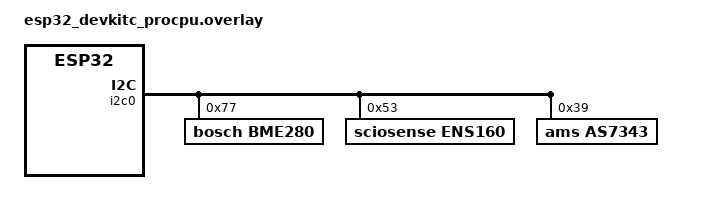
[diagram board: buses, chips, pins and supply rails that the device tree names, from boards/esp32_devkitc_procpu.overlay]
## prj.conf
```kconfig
#################
# Enable Bluetooth
#################
# CONFIG_SMP=y

CONFIG_BT=y
CONFIG_BT_PERIPHERAL=y
CONFIG_BT_HCI=y
CONFIG_BT_DEVICE_NAME="SensorNode"
CONFIG_BT_BUF_ACL_RX_SIZE=200
CONFIG_BT_BUF_ACL_TX_SIZE=200
CONFIG_BT_L2CAP_TX_MTU=71

CONFIG_SYSTEM_WORKQUEUE_STACK_SIZE=2048
CONFIG_SENSOR_INIT_PRIORITY=95

# Enable Peripheral
#enabled GPIO for button
CONFIG_GPIO=y
# CONFIG_WATCHDOG=n
# enable prints for serial
CONFIG_PRINTK=y
# enable floating point suppport
CONFIG_CBPRINTF_FP_SUPPORT=y
CONFIG_I2C=y

CONFIG_SENSOR=y
CONFIG_SENSOR_ASYNC_API=y

# Enable Zephyr logging
CONFIG_LOG=y
# Set the default log level
CONFIG_LOG_DEFAULT_LEVEL=3


# Enable Zephyr shell
CONFIG_SHELL=y
# Backend the logs to be output via the shell
CONFIG_SHELL_LOG_BACKEND=y
# Add runtime log commands
CONFIG_LOG_CMDS=y

#for JSON libraries
CONFIG_JSON_LIBRARY=y

# fs_dirent structures are big.
CONFIG_MAIN_STACK_SIZE=4096

# CONFIG_FLASH=y 
# CONFIG_FLASH_MAP=y

# CONFIG_FILE_SYSTEM=y
# CONFIG_FILE_SYSTEM_LITTLEFS=y
```

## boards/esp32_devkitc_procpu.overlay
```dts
&i2c0 {

    bme280@76 {
        compatible = "bosch,bme280";
        reg = <0x77>;
        label = "BME280";
    };

    ens160@53 {
        compatible = "sciosense,ens160";
        reg = <0x53>;  /* or 0x52 depending on ADDR pin */
        label = "ENS160";
    };

    as7343@39 {
        compatible = "ams,as7343";
        reg = <0x39>;
        status = "okay";
        label = "AS7343";
    };
};
```

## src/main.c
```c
#include <zephyr/kernel.h>
#include <zephyr/device.h>
#include <zephyr/drivers/rtc.h>
#include <zephyr/sys/util.h>
#include <zephyr/shell/shell.h>
// #include "s4744413_rtc.h"
#include <zephyr/drivers/sensor.h>
#include <zephyr/drivers/sensor/ens160.h>
#include "sensor.h"
#include "as7343.h"

// MAIN.C bluetooth test

#include <zephyr/types.h>
#include <zephyr/sys/printk.h>
#include <zephyr/logging/log.h>
#include <zephyr/net_buf.h>
#include <zephyr/bluetooth/bluetooth.h>
#include <zephyr/bluetooth/conn.h>
#include <zephyr/bluetooth/gatt.h>
#include <zephyr/bluetooth/hci.h>


#include <string.h>
#include "bluetooth.h"

// #include "s4744413_file.h"

//TESTING TASK1
// K_THREAD_DEFINE(control_id, STACK_SIZE_RTC, control_thread, NULL, NULL, NULL, RTC_PRIORITY, 0, 0);

//TESTING TASK2
// K_THREAD_DEFINE(sensor_control_id, STACK_SIZE_SENSOR, sensor_control_thread, NULL, NULL, NULL, SENSOR_PRIORITY, 0, 0);
// K_THREAD_DEFINE(hts221_tid, STACK_SIZE_SENSOR, hts221_thread, NULL, NULL, NULL, HTS221_THREAD_PRIORITY , 0, 0);
// K_THREAD_DEFINE(lps22hb_tid, STACK_SIZE_SENSOR, lps22hb_thread, NULL, NULL, NULL, LPS22HB_THREAD_PRIORITY, 0, 0);
// K_THREAD_DEFINE(lis3mdl_tid, STACK_SIZE_SENSOR, lis3mdl_thread, NULL, NULL, NULL, LIST3MDL_THREAD_PRIORITY, 0, 0);


                /* Start immediately -> 0 (ms) */
K_THREAD_DEFINE(tracker_tid, TRACKER_CONTROL_STACK_SIZE, tracker_thread,
                NULL, NULL, NULL,
                TRACKER_CONTROL_PRIORITY, 0, 0);

/* Create paused -> SYS_FOREVER_MS */
K_THREAD_DEFINE(bme280_tid,  STACK_SIZE_SENSOR, bme280_thread,
                NULL, NULL, NULL,
                BME280_THREAD_PRIORITY, 0, 0);

K_THREAD_DEFINE(ens160_tid,  STACK_SIZE_SENSOR, ens160_thread,
                NULL, NULL, NULL,
                BME280_THREAD_PRIORITY, 0, 0);

K_THREAD_DEFINE(as7343_tid,  STACK_SIZE_SENSOR, as7343_thread,
                NULL, NULL, NULL,
                BME280_THREAD_PRIORITY, 0, 0);

K_THREAD_DEFINE(combiner_tid, STACK_SIZE_SENSOR, combiner_thread,
                NULL, NULL, NULL,
                BME280_THREAD_PRIORITY, 0, 0);


// //TESTING TASK 5
// K_THREAD_DEFINE(file_control_id, FILE_STACK_SIZE, file_control_thread, NULL, NULL, NULL, FILE_PRIORITY, 0, 0);
```

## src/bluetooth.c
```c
#include <zephyr/kernel.h>
#include <zephyr/types.h>
#include <zephyr/sys/printk.h>
#include <zephyr/logging/log.h>
#include <zephyr/net_buf.h>
#include <zephyr/bluetooth/bluetooth.h>
#include <zephyr/bluetooth/conn.h>
#include <zephyr/bluetooth/gatt.h>
#include <zephyr/bluetooth/hci.h>
#include <zephyr/sys/timeutil.h>

#include <string.h>

#include "bluetooth.h"
#include "sensor.h"

#include "i2c_gate.h"

#ifndef CONFIG_BT_DEVICE_NAME
#define CONFIG_BT_DEVICE_NAME "SensorNode"
#endif

#define DEV_ID 2
#define PACKED_DATA_LEN 51

#define PROTO_VER 1

/* GLOBAL VARIABLES*/
uint8_t packed_data[PACKED_DATA_LEN];
static struct bt_conn *current_conn;
static bool notify_enabled = false;  // NEW
uint8_t ble_tick = 0;
uint8_t dev_id = DEV_ID;

// Custom 128-bit service UUID for advertising (little endian)
static const uint8_t custom_service_uuid[16] = {
    0x12, 0x34, 0x56, 0x78,
    0x12, 0x34, 0x56, 0x78,
    0x12, 0x34, 0x56, 0x78,
    0x9a, 0xbc, 0xde, 0xf0,
};

// Advertising data: Flags for general discovery and custome 128-bit service UUID to display (for base to see then establish gatt connection)
static const struct bt_data ad[] = {
    BT_DATA_BYTES(BT_DATA_FLAGS, (BT_LE_AD_GENERAL | BT_LE_AD_NO_BREDR)),
    BT_DATA(BT_DATA_UUID128_ALL, custom_service_uuid, sizeof(custom_service_uuid)),
};

// Scan response data: Complete device name from configuration (only using for testing on nrf app)
static const struct bt_data sd[] = {
    BT_DATA(BT_DATA_NAME_COMPLETE, CONFIG_BT_DEVICE_NAME, strlen(CONFIG_BT_DEVICE_NAME)),
};

/* FUNCTION PROTOTYPES*/
extern uint8_t get_ble_tick(void);
extern void set_ble_tick(uint8_t value);

static ssize_t pack_data(struct bt_conn *conn, const struct bt_gatt_attr *attr,
                         void *buf, uint16_t len, uint16_t offset);
static ssize_t write_handler(struct bt_conn *conn,
                             const struct bt_gatt_attr *attr,
                             const void *buf, uint16_t len,
                             uint16_t offset, uint8_t flags);
static void ccc_cfg_changed(const struct bt_gatt_attr *attr, uint16_t value);
static void connected(struct bt_conn *conn, uint8_t err);
static void disconnected(struct bt_conn *conn, uint8_t reason);
static void print_packed_data();
extern void pack_sensor_data(const struct sensor_blk *sensor);
extern int init_bluetooth(void);
extern int start_advertising(void);
extern int stop_advertising(void);
extern int stop_advertising_and_disconnect();
void tracker_thread(void);

// Advertising parameters
// struct bt_le_adv_param adv_params = {
//     .id = BT_ID_DEFAULT,
//     .interval_min = BT_GAP_ADV_FAST_INT_MIN_2,
//     .interval_max = BT_GAP_ADV_FAST_INT_MAX_2,
//     .options = BT_LE_ADV_OPT_CONNECTABLE, // Connectable mode (this is depreciatetd though only thing i found to work)
// };

struct bt_le_adv_param adv_params = {
    .id = BT_ID_DEFAULT,
    .interval_min = BT_GAP_ADV_FAST_INT_MIN_2,
    .interval_max = BT_GAP_ADV_FAST_INT_MAX_2,
    .options = BT_LE_ADV_OPT_CONN, // Connectable mode (this is depreciatetd though only thing i found to work)
};

//Bluetooth connection callbacks structure:
static struct bt_conn_cb conn_callbacks = {
    .connected = connected,
    .disconnected = disconnected,
};

/*
GATT (Generic Attribute Profile) is a protocol used in Bluetooth Low Energy (BLE) 
defining how data is structured, discovered, and exchanged between devices. 
Data is organised into services and characteristics.

- Services are collections of data and associated behaviors (like a sensor service).
- Characteristics are individual data points or features within a service (like a temperature value).

Each attribute (service, characteristic, descriptor, etc.) in GATT has a unique handle,
A 16-bit identifier used by the BLE stack to read, write, or discover that attribute. 
Handles allow clients to specifically refer and operate on specific data points.
*/
BT_GATT_SERVICE_DEFINE(custom_svc, //custom service
    BT_GATT_PRIMARY_SERVICE(BT_UUID_DECLARE_128( //primary service with 128-bit custom UUID
        0x12, 0x34, 0x56, 0x78,
        0x12, 0x34,
        0x56, 0x78,
        0x12, 0x34,
        0x56, 0x78, 0x9a, 0xbc, 0xde, 0xf0)),
    BT_GATT_CHARACTERISTIC(BT_UUID_DECLARE_128( //characteristic defined within the service
        0x99, 0x88, 0x77, 0x66,
        0x55, 0x44,
        0x33, 0x22,
        0x11, 0x00,
        0xff, 0xee, 0xdd, 0xcc, 0xbb, 0xaa),
        BT_GATT_CHRC_READ | BT_GATT_CHRC_WRITE | BT_GATT_CHRC_NOTIFY, // read, write and notifying characteristic permissions
        BT_GATT_PERM_READ | BT_GATT_PERM_WRITE, // read and write attribute permissions
        pack_data, //read callback
        write_handler, //write callback
        NULL),
    // Client Characteristic Configuration Descriptor (CCCD)
    // Allows the client to enable or disable notifications
    BT_GATT_CCC(ccc_cfg_changed,
                BT_GATT_PERM_READ | BT_GATT_PERM_WRITE),
);

//Helper functions

/**
 * @brief Get the current value of the BLE tick counter.
 *
 * @return The current value of the ble_tick variable.
 */
extern uint8_t get_ble_tick(void) {
    return ble_tick;
}

/**
 * @brief Set the BLE tick counter to a specified value.
 *
 * @param value The new value to assign to the ble_tick variable.
 */
extern void set_ble_tick(uint8_t value) {
    ble_tick = value;
}

/**
 * @brief Read callback for the custom characteristic to return packed sensor data.
 *
 * This function called when a connected BLE client reads the value of the
 * custom characteristic. It returns the current contents of the `packed_data` buffer,
 * which containing the tracker sensor data
 *
 * @param conn   Pointer to the connection object.
 * @param attr   Pointer to the GATT attribute being read.
 * @param buf    Buffer to store the read data.
 * @param len    Maximum number of bytes the buffer can hold.
 * @param offset Offset from the beginning of the attribute value.
 *
 * @return Number of bytes read and copied to the buffer, or a negative error code.
 */
static ssize_t pack_data(struct bt_conn *conn, const struct bt_gatt_attr *attr,
                         void *buf, uint16_t len, uint16_t offset) {
    printk("[TRACKER] packing data\n");
    return bt_gatt_attr_read(conn, attr, buf, len, offset, packed_data, PACKED_DATA_LEN);
}

/**
 * @brief Write callback for the custom characteristic to update the device ID.
 *
 * This function is called when a connected BLE client writes to the custom
 * characteristic. It extracts the first byte from the incoming buffer and
 * stores it in the global dev_id variable, representing the device ID.
 *
 * @param conn   Pointer to the connection object.
 * @param attr   Pointer to the GATT attribute being written.
 * @param buf    Pointer to the data buffer provided by the client.
 * @param len    Length of the data being written.
 * @param offset Offset into the attribute value 
 * @param flags  Flags indicating write behavior 
 */
static ssize_t write_handler(struct bt_conn *conn,
                             const struct bt_gatt_attr *attr,
                             const void *buf, uint16_t len,
                             uint16_t offset, uint8_t flags) {
    //update device ID
    dev_id = ((uint8_t *)buf)[0];
    // printk("dev_id set to: %d\n", dev_id);

    // Return number of bytes written
    return len;
}


/**
 * @brief Callback triggered when the CCC (Client Characteristic Configuration) is changed.
 *
 * This function is invoked when a BLE client writes to the CCC descriptor of a
 * characteristic to enable or disable notifications. It updates the global
 * notify_enabled flag to indicate.
 *
 * @param attr  Pointer to the CCC GATT attribute.
 * @param value New CCC value set by the client (BT_GATT_CCC_NOTIFY to enable notifications).
 */
static void ccc_cfg_changed(const struct bt_gatt_attr *attr, uint16_t value) {

    if (value == BT_GATT_CCC_NOTIFY) {
        notify_enabled = true;
        printk("Notifications enabled\n");
    } else {
        printk("Notifications disabled\n");
        notify_enabled = false;
    }
}

/**
 * @brief Bluetooth connection callback when a connection is successfully established.
 *
 * It checks for connection errors, stores a reference to the current connection,
 * prints a status message, and sets the BLE tick flag indicating a BT connection.
 *
 * @param conn Pointer to the new connection object.
 * @param err  Error code (0 if successful, non-zero on failure).
 */
static void connected(struct bt_conn *conn, uint8_t err) {
    if (err) {
        printk("[TRACKER] Failed to connect (err %u)\n", err);
        return;
    }

    current_conn = bt_conn_ref(conn);
    printk("[TRACKER] Connected\n");
    ble_tick = 1;
}

/**
 * @brief Bluetooth disconnection callback triggered when the device disconnects.
 *
 * This function is called when the BLE connection is disconnected, prints the
 * disconnection reason, unreferencing, clearing the current connection, and resetting
 * the BLE tick flag.
 *
 * @param conn   Pointer to the disconnected connection object.
 * @param reason Reason code for the disconnection.
 */
static void disconnected(struct bt_conn *conn, uint8_t reason) {
    printk("[TRACKER] Disconnected (reason 0x%02x)\n", reason);
    if (current_conn) {
        bt_conn_unref(current_conn);
        current_conn = NULL;
    }
    ble_tick = 0;
}

/**
 * @brief Unpack and print the contents of the compact sensor packet (no hash).
 * Layout (bytes, big-endian where multi-byte):
 *  0..3:   time (uint32_t, epoch s)
 *  4..7:   uptime_ms (uint32_t)
 *  8:      proto_ver (uint8_t)
 *  9:      dev_id    (uint8_t)
 * 10..11:  temp_c_x100 (int16_t)
 * 12..13:  rh_x100     (int16_t)
 * 14..15:  press_hPa_x10 (int16_t)
 * 16..17:  eco2_ppm (uint16_t)
 * 18..19:  tvoc_ppb (uint16_t)
 * 20:      aqi (uint8_t)
 * 21..46:  AS7343[13] (uint16_t each) order: 405,425,450,475,515,550,555,600,640,690,745,855, VISIBLE
 * 47..48:  batt_mV (uint16_t)
 */
static void print_packed_data(void)
{
    size_t i = 0;

    // Timestamps / meta
    uint32_t timestamp =
        ((uint32_t)packed_data[i] << 24) |
        ((uint32_t)packed_data[i+1] << 16) |
        ((uint32_t)packed_data[i+2] << 8) |
         (uint32_t)packed_data[i+3];
    i += 4;

    uint32_t uptime_ms =
        ((uint32_t)packed_data[i] << 24) |
        ((uint32_t)packed_data[i+1] << 16) |
        ((uint32_t)packed_data[i+2] << 8) |
         (uint32_t)packed_data[i+3];
    i += 4;

    uint8_t proto_ver = packed_data[i++];
    uint8_t dev_id    = packed_data[i++];

    // BME280
    int16_t temp_x100 = (int16_t)((packed_data[i] << 8) | packed_data[i+1]); i += 2;
    int16_t rh_x100   = (int16_t)((packed_data[i] << 8) | packed_data[i+1]); i += 2;
    int32_t p_hPa_x1000 = (int32_t)((packed_data[i] << 24) | (packed_data[i] << 16) | (packed_data[i] << 8) | packed_data[i+1]); i += 4;

    // ENS160
    uint16_t eco2_ppm = (uint16_t)((packed_data[i] << 8) | packed_data[i+1]); i += 2;
    uint16_t tvoc_ppb = (uint16_t)((packed_data[i] << 8) | packed_data[i+1]); i += 2;
    uint8_t aqi       = packed_data[i++];
    

    // AS7343 channels
    static const uint16_t wl[13] = {
        405,425,450,475,515,550,555,600,640,690,745,855,999  // 999 = VISIBLE
    };
    uint16_t ch[13];
    for (int k = 0; k < 13; k++) {
        ch[k] = (uint16_t)((packed_data[i] << 8) | packed_data[i+1]);
        i += 2;
    }

    // Battery
    uint16_t batt_mV = (uint16_t)((packed_data[i] << 8) | packed_data[i+1]);
    // i += 2; // not used

    // ---- Print nicely ----
    printk("[TRACKER] Parsed Data:\n");
    printk("  Time: %u  Uptime: %u ms  Ver: %u  DevID: %u\n",
           timestamp, uptime_ms, proto_ver, dev_id);

    printk("  BME280: T=%.2f °C  RH=%.2f %%  P=%.1f hPa\n",
           temp_x100 / 100.0f, rh_x100 / 100.0f, p_hPa_x1000 / 1000.0f);

    printk("  ENS160: eCO2=%u ppm  TVOC=%u ppb  AQI=%u\n",
           eco2_ppm, tvoc_ppb, aqi);

    for (int k = 0; k < 13; k++) {
        if (wl[k] == 999) {
            printk("  AS7343_VISIBLE: %u\n", ch[k]);
        } else {
            printk("  AS7343_%unm: %u\n", wl[k], ch[k]);
        }
    }

    printk("  Batt: %u mV\n", batt_mV);
}


/**
 * @brief Initialize Bluetooth.
 *
 * Enables Bluetooth and registers connection callbacks.
 *
 * @return 0 on success, or a negative error code on failure.
 */
extern int init_bluetooth(void) {
    int err;
    printk("[TRACKER] Initializing Bluetooth...\n");
    err = bt_enable(NULL);
    if (err) {
        printk("[TRACKER] Bluetooth init failed (err %d)\n", err);
        return err;
    }
    printk("here1");
    bt_conn_cb_register(&conn_callbacks);

    return 0;
}

/**
 * @brief Start Bluetooth advertising.
 *
 * Begins advertising with predefined parameters and advertising data.
 * Waits briefly after starting to allow advertising packets to propagate.
 *
 * @return 0 on success, or a negative error code on failure.
 */
extern int start_advertising(void) {
    int err;
    printk("[TRACKER] Starting advertising...\n");
    err = bt_le_adv_start(&adv_params, ad, ARRAY_SIZE(ad), sd, ARRAY_SIZE(sd));
    if (err) {
        printk("[TRACKER] Advertising failed to start (err %d)\n", err);
        return err;
    }

    printk("[TRACKER] Advertising started\n");
    k_msleep(3000);  // Wait before restarting next advertisement cycle ?????
    return 0;
}

/**
 * @brief Stop Bluetooth advertising.
 *
 * Waits briefly to ensure packets clear, then stops advertising.
 *
 * @return 0 on success, or a negative error code on failure.
 */
extern int stop_advertising(void) {
    k_msleep(2000); // wait for packets to clear before stopping
    int err;
    printk("[TRACKER] Stopping advertising...\n");

    err = bt_le_adv_stop();
    if (err) {
        printk("[TRACKER] Failed to stop advertising (err %d)\n", err);
        return err;
    }

    printk("[TRACKER] Advertising stopped\n");
    return 0;
}

/**
 * @brief Stop advertising and disconnect any active connection.
 *
 * Stops advertising, then if a connection exists, disconnects it with
 * a remote user termination reason.
 *
 * @return 0 on success, or a negative error code on failure.
 */
extern int stop_advertising_and_disconnect() {
    int err;

    err = stop_advertising();
    if (err) {
        printk("[TRACKER] Failed to stop advertising\n");
        return err;
    }

    if (current_conn) {
        err = bt_conn_disconnect(current_conn, BT_HCI_ERR_REMOTE_USER_TERM_CONN);
        if (err) {
            printk("[TRACKER] Disconnection failed (err %d)\n", err);
            return err;
        } else {
            printk("[TRACKER] Disconnection initiated\n");
        }
    }

    return 0;
}

extern void pack_sensor_data(const struct sensor_blk *s)
{
    size_t o = 0;

    // time
    packed_data[o++] = (s->time >> 24) & 0xFF;
    packed_data[o++] = (s->time >> 16) & 0xFF;
    packed_data[o++] = (s->time >>  8) & 0xFF;
    packed_data[o++] =  s->time        & 0xFF;

    // uptime_ms
    packed_data[o++] = (s->uptime_ms >> 24) & 0xFF;
    packed_data[o++] = (s->uptime_ms >> 16) & 0xFF;
    packed_data[o++] = (s->uptime_ms >>  8) & 0xFF;
    packed_data[o++] =  s->uptime_ms        & 0xFF;

    // meta
    packed_data[o++] = s->proto_ver;
    packed_data[o++] = s->dev_id;

    // BME280
    packed_data[o++] = (s->temp_c_x100 >> 8) & 0xFF;
    packed_data[o++] =  s->temp_c_x100       & 0xFF;
    packed_data[o++] = (s->rh_x100 >> 8) & 0xFF;
    packed_data[o++] =  s->rh_x100       & 0xFF;
    
    packed_data[o++] = (s->press_hPa_x1000 >> 24) & 0xFF;
    packed_data[o++] = (s->press_hPa_x1000 >> 16) & 0xFF;
    packed_data[o++] = (s->press_hPa_x1000 >>  8) & 0xFF;
    packed_data[o++] =  s->press_hPa_x1000        & 0xFF;

    // ENS160
    packed_data[o++] = (s->eco2_ppm >> 8) & 0xFF;
    packed_data[o++] =  s->eco2_ppm       & 0xFF;
    packed_data[o++] = (s->tvoc_ppb >> 8) & 0xFF;
    packed_data[o++] =  s->tvoc_ppb       & 0xFF;
    packed_data[o++] =  s->aqi;

    // AS7343: 405,425,450,475,515,550,555,600,640,690,745,855,VISIBLE
    for (int i = 0; i < AS7343_NUM_CH; i++) {
        uint16_t v = s->as7343[i];
        packed_data[o++] = (v >> 8) & 0xFF;
        packed_data[o++] =  v       & 0xFF;
    }

    // Battery
    packed_data[o++] = (s->batt_mV >> 8) & 0xFF;
    packed_data[o++] =  s->batt_mV       & 0xFF;

    // Notify if enabled
    if (notify_enabled && current_conn) {
        int err = bt_gatt_notify(current_conn, &custom_svc.attrs[1],
                                 packed_data, PACKED_DATA_LEN);
        if (err) {
            printk("[TRACKER] notify failed (%d)\n", err);
        }
    }
}

void tracker_thread(void)
{   
    // k_sleep(K_SECONDS(5));
     /* Hard-stop all I2C before touching BT */
    // i2c_gate_acquire();

    /* init_bluetooth() should just call bt_enable(cb) and return 0 on success */
    int rc = init_bluetooth();
    if (rc) {
        // i2c_gate_release();
        return; /* or retry later */
    }

    while (1) {
        // i2c_gate_acquire();
        if (start_advertising()) break;

        for (int i = 0; i < 10; ++i) {  // ~30 seconds of data, for example
            struct sensor_blk s;
            /* Wait until a full sample is available */
            if (k_msgq_get(&full_q, &s, K_SECONDS(2)) == 0) {
                pack_sensor_data(&s);
                // Optional debug:
                print_packed_data();
            } else {
                /* No sample in 2s: continue (or log) */
            }
        }

        (void)stop_advertising_and_disconnect();
        k_sleep(K_SECONDS(5));
        // i2c_gate_release();
    }
}

// /**
//  * @brief Testing tracker thread sending dummy data (minimal schema, no hash)
//  */
// void tracker_thread(void)
// {
//     int err = init_bluetooth();
//     if (err) {
//         printk("[TRACKER] Bluetooth init failed\n");
//         return;
//     }
//     printk("here\n");
//     // Fixed wall-clock start time (same as before)
//     struct tm timeinfo = {
//         .tm_year = 2025 - 1900,  // years since 1900
//         .tm_mon  = 4,            // May (0-indexed)
//         .tm_mday = 25,
//         .tm_hour = 12,
//         .tm_min  = 38,
//         .tm_sec  = 0,
//     };
//     uint32_t unix_ts = (uint32_t)timeutil_timegm(&timeinfo);
//     printk("Unix timestamp: %u\n", unix_ts);

//     // --- Seed example sensor data (scale factors: T*100, RH*100, P*10) ---
//     struct sensor_blk s = {
//         .time          = unix_ts,
//         .uptime_ms     = k_uptime_get_32(),
//         .proto_ver     = PROTO_VER,
//         .dev_id        = DEV_ID,

//         // BME280
//         .temp_c_x100   = 2350,   // 23.50 °C
//         .rh_x100       = 4567,   // 45.67 %RH
//         .press_hPa_x10 = 10132,  // 1013.2 hPa

//         // ENS160
//         .eco2_ppm      = 415,    // ppm
//         .tvoc_ppb      = 28,     // ppb
//         .aqi           = 1,      // 0..5 (pass-through)

//         // AS7343 channels in this order:
//         // 405,425,450,475,515,550,555,600,640,690,745,855, VISIBLE
//         .as7343 = {
//             12, 14, 18, 20, 22, 24, 23, 19, 16, 13, 9, 6,  75 /*VISIBLE sum*/
//         },

//         .batt_mV       = 3820,   // 3.82 V battery
//     };

//     while (1) {
//         err = start_advertising();
//         if (err) {
//             printk("[TRACKER] Advertising start failed (%d)\n", err);
//             return;
//         }

//         // Send a few samples at ~1 Hz
//         for (int i = 0; i < 5; i++) {
//             // Refresh dynamic fields
//             s.time       = unix_ts + i;           // tick the epoch so `time` changes
//             s.uptime_ms  = k_uptime_get_32();

//             // Mildly vary readings to see motion in Grafana
//             s.temp_c_x100   += (i % 2 ? 1 : -1);  // ±0.01 °C
//             s.rh_x100       += (i % 2 ? 2 : -2);  // ±0.02 %RH
//             s.press_hPa_x10 += (i % 2 ? 1 : -1);  // ±0.1 hPa

//             s.eco2_ppm      = 410 + (i * 2);     // ppm
//             s.tvoc_ppb      = 25  + (i * 3);     // ppb
//             s.aqi           = 1;                  // keep stable

//             // Wiggle a couple of spectral channels + recompute "VISIBLE"
//             s.as7343[2] += (i % 2 ? 1 : -1);      // 450 nm
//             s.as7343[7] += (i % 2 ? 1 : -1);      // 600 nm
//             uint32_t vis = 0;
//             for (int k = 0; k < 12; k++) vis += s.as7343[k];
//             s.as7343[12] = (uint16_t)vis;         // AS7343_VISIBLE

//             // Trickle battery down a touch
//             if (s.batt_mV > 3600) s.batt_mV--;

//             // Ship it
//             pack_sensor_data(&s);

//             // Optional local debug
//             print_packed_data();

//             k_sleep(K_SECONDS(1));
//         }

//         k_sleep(K_SECONDS(5));
//         err = stop_advertising_and_disconnect();
//         if (err) {
//             printk("[TRACKER] Stop+disconnect failed (%d)\n", err);
//             return;
//         }

//         k_sleep(K_SECONDS(10));  // pause before next burst
//     }
// }

//MAIN.C bluetooth test
// #include <zephyr/kernel.h>
// #include <zephyr/types.h>
// #include <zephyr/sys/printk.h>
// #include <zephyr/logging/log.h>
// #include <zephyr/net_buf.h>
// #include <zephyr/bluetooth/bluetooth.h>
// #include <zephyr/bluetooth/conn.h>
// #include <zephyr/bluetooth/gatt.h>
// #include <zephyr/bluetooth/hci.h>

// #include <string.h>

// #include <bluetooth.h>

// K_THREAD_DEFINE(tracker_tid, TRACKER_CONTROL_STACK_SIZE, tracker_thread, NULL, NULL, NULL, TRACKER_CONTROL_PRIORITY, 0, 0);
```

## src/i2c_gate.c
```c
#include <zephyr/kernel.h>

K_MUTEX_DEFINE(i2c_mux);

void i2c_gate_acquire(void) { k_mutex_lock(&i2c_mux, K_FOREVER); }
void i2c_gate_release(void) { k_mutex_unlock(&i2c_mux); }
```

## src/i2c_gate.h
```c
#pragma once
#include <zephyr/kernel.h>

extern struct k_mutex i2c_mux;
void i2c_gate_acquire(void);
void i2c_gate_release(void);
```

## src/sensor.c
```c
    #include <zephyr/kernel.h>
    #include <zephyr/device.h>
    #include <zephyr/drivers/sensor.h>
    #include <zephyr/logging/log.h>
    #include <zephyr/data/json.h>
    #include <zephyr/sys/ring_buffer.h>
    #include <zephyr/sys/printk.h>
    #include <zephyr/drivers/sensor.h>
    #include <zephyr/drivers/sensor/ens160.h>
    #include "as7343.h"
    #include "sensor.h"

    #include "i2c_gate.h"

    LOG_MODULE_REGISTER(sensor_module, LOG_LEVEL_INF);

    #define RING_BUF_SIZE 256
    #define MAX_JSON_SIZE 512
    #define SAMPLE_PERIOD_MS 10000

    /* --- Sensor types --- */
    #define DEV_ID_BME280  1
    #define DEV_ID_ENS160  2
    #define DEV_ID_AS7343  3

    /*  item_size, depth, align */
    K_MSGQ_DEFINE(bme_q,  sizeof(struct bme280_msg), Q_DEPTH, 4);
    K_MSGQ_DEFINE(ens_q,  sizeof(struct ens160_msg), Q_DEPTH, 4);
    K_MSGQ_DEFINE(as7_q,  sizeof(struct as7343_msg), Q_DEPTH, 4);
    K_MSGQ_DEFINE(batt_q, sizeof(struct batt_msg),   Q_DEPTH, 4);

    /* Final telemetry queue: full samples -> BLE */
    K_MSGQ_DEFINE(full_q, sizeof(struct sensor_blk), Q_DEPTH, 4);

    /* --- Ring buffer + structs --- */
    struct sensor_data {
        double value1;
        double value2;
        double value3;
        uint8_t sensor_type;
    };

    struct json_sensor_output {
        uint8_t dev_id;
        char *rtc_time;
        char *values[20];
        size_t values_len;
    };

    static const struct json_obj_descr json_descr[] = {
        JSON_OBJ_DESCR_PRIM(struct json_sensor_output, dev_id, JSON_TOK_NUMBER),
        JSON_OBJ_DESCR_PRIM(struct json_sensor_output, rtc_time, JSON_TOK_STRING),
        JSON_OBJ_DESCR_ARRAY(struct json_sensor_output, values, 20, values_len, JSON_TOK_STRING),
    };

    /* --- Dummy timestamp --- */
    static char *get_rtc_time(void)
    {
        static char buf[32];
        uint64_t ms = k_uptime_get();
        //in milleseconds currently
        snprintf(buf, sizeof(buf), "%llu", ms);
        return buf;
    }

    /* -------------------------------------------------------------------------- */
    /* --- BME280 thread --- */
    void bme280_thread(void)
    {   
        const struct device *dev = DEVICE_DT_GET_ONE(bosch_bme280);
        if (!device_is_ready(dev)) {
            LOG_ERR("BME280 device not ready");
            return;
        }

        struct sensor_value temp, press, hum;
        // struct json_sensor_output json_out = {0};

        while (1) {

            // i2c_gate_acquire();
            if (sensor_sample_fetch(dev) < 0) {
                LOG_ERR("BME280: fetch failed");
                // i2c_gate_release();
                k_msleep(SAMPLE_PERIOD_MS);
                continue;
            }
            //  i2c_gate_release();

            // json_out.dev_id = DEV_ID_BME280;
            // json_out.rtc_time = get_rtc_time();
            // json_out.values_len = 0;

            // static char temp_str[32], hum_str[32], press_str[32];
            // if (sensor_channel_get(dev, SENSOR_CHAN_AMBIENT_TEMP, &temp) == 0) {
            //     snprintf(temp_str, sizeof(temp_str), "%.2f", sensor_value_to_double(&temp));
            //     json_out.values[json_out.values_len++] = temp_str;
            // }
            // if (sensor_channel_get(dev, SENSOR_CHAN_PRESS, &press) == 0) {
            //     snprintf(press_str, sizeof(press_str), "%.2f", sensor_value_to_double(&press));
            //     json_out.values[json_out.values_len++] = press_str;
            // }
            // if (sensor_channel_get(dev, SENSOR_CHAN_HUMIDITY, &hum) == 0) {
            //     snprintf(hum_str, sizeof(hum_str), "%.2f", sensor_value_to_double(&hum));
            //     json_out.values[json_out.values_len++] = hum_str;
            // }
            sensor_channel_get(dev, SENSOR_CHAN_AMBIENT_TEMP, &temp);
            sensor_channel_get(dev, SENSOR_CHAN_PRESS, &press);
            sensor_channel_get(dev, SENSOR_CHAN_HUMIDITY, &hum);

            // static char json_buf[MAX_JSON_SIZE];
            // int ret = json_obj_encode_buf(json_descr, ARRAY_SIZE(json_descr), &json_out,
            //                               json_buf, sizeof(json_buf));
            // if (ret < 0) {
            //     LOG_ERR("BME280 JSON encode error: %d", ret);
            // } else {
            //     printk("%s\n", json_buf);
            // }

            // k_msleep(SAMPLE_PERIOD_MS);

            struct bme280_msg m = {
                .temp_c   = sensor_value_to_double(&temp),
                .rh_pct   = sensor_value_to_double(&hum),
                .press_hPa= sensor_value_to_double(&press),
            };

            printk("BME put: T=%.2fC RH=%.2f%% P=%.3f(kPa?)\n",
                m.temp_c, m.rh_pct, m.press_hPa);
            /* Drop oldest if full to keep freshest */
            if (k_msgq_put(&bme_q, &m, K_NO_WAIT) != 0) {
                struct bme280_msg dump;
                (void)k_msgq_get(&bme_q, &dump, K_NO_WAIT);
                (void)k_msgq_put(&bme_q, &m, K_NO_WAIT);
            }
            k_msleep(SAMPLE_PERIOD_MS);
        }
    }

    /* -------------------------------------------------------------------------- */
    /* --- ENS160 thread --- */
    void ens160_thread(void)
    {   
        const struct device *dev = DEVICE_DT_GET_ONE(sciosense_ens160);
        if (!device_is_ready(dev)) {
            LOG_ERR("ENS160 device not ready");
            return;
        }
        LOG_INF("ENS160 device ready");

        struct sensor_value eco2, tvoc, aqi;
        // struct json_sensor_output json_out = {0};

        while (1) {
            // i2c_gate_acquire();
            if (sensor_sample_fetch(dev) < 0) {
                LOG_ERR("ENS160: fetch failed");
                // i2c_gate_release();
                k_msleep(SAMPLE_PERIOD_MS);
                continue;
            }
            // i2c_gate_release();

            // json_out.dev_id = DEV_ID_ENS160;
            // json_out.rtc_time = get_rtc_time();
            // json_out.values_len = 0;

            // static char eco2_str[32], tvoc_str[32], aqi_str[32];
            // if (sensor_channel_get(dev, SENSOR_CHAN_CO2, &eco2) == 0) {
            //     snprintf(eco2_str, sizeof(eco2_str), "%d", eco2.val1);
            //     json_out.values[json_out.values_len++] = eco2_str;
            // }
            // if (sensor_channel_get(dev, SENSOR_CHAN_VOC, &tvoc) == 0) {
            //     snprintf(tvoc_str, sizeof(tvoc_str), "%d", tvoc.val1);
            //     json_out.values[json_out.values_len++] = tvoc_str;
            // }
            // if (sensor_channel_get(dev, SENSOR_CHAN_ENS160_AQI, &aqi) == 0) {
            //     snprintf(aqi_str, sizeof(aqi_str), "%d", aqi.val1);
            //     json_out.values[json_out.values_len++] = aqi_str;
            // }
            sensor_channel_get(dev, SENSOR_CHAN_CO2, &eco2);
            sensor_channel_get(dev, SENSOR_CHAN_VOC, &tvoc);
            sensor_channel_get(dev, SENSOR_CHAN_ENS160_AQI, &aqi);

            // static char json_buf[MAX_JSON_SIZE];
            // int ret = json_obj_encode_buf(json_descr, ARRAY_SIZE(json_descr), &json_out,
            //                               json_buf, sizeof(json_buf));
            // if (ret < 0) {
            //     LOG_ERR("ENS160 JSON encode error: %d", ret);
            // } else {
            //     printk("%s\n", json_buf);
            // }

            struct ens160_msg m = { .eco2_ppm = eco2.val1, .tvoc_ppb = tvoc.val1, .aqi = aqi.val1 };
            printk("ENS put: eCO2=%d TVOC=%d AQI=%d\n", m.eco2_ppm, m.tvoc_ppb, m.aqi);
            if (k_msgq_put(&ens_q, &m, K_NO_WAIT) != 0) {
                struct ens160_msg dump;
                (void)k_msgq_get(&ens_q, &dump, K_NO_WAIT);
                (void)k_msgq_put(&ens_q, &m, K_NO_WAIT);
            }

            k_msleep(SAMPLE_PERIOD_MS);
        }
    }

    /* Fixed order we want downstream (index 12 = 999 "VISIBLE") */
    static const int wl_order[13] = {
        405,425,450,475,515,550,555,600,640,690,745,855,999
    };

    static int wl_index(int nm)
    {
        /* exact match first (covers 999 visible) */
        for (int i = 0; i < 13; ++i) {
            if (wl_order[i] == nm) return i;
        }
        return -1;
    }

    /* -------------------------------------------------------------------------- */
    /* --- AS7343 thread (aligned -> queue, includes 999nm sum) ----------------- */
    void as7343_thread(void)
    {
        const struct device *dev = DEVICE_DT_GET_ONE(ams_as7343);
        if (!device_is_ready(dev)) {
            LOG_ERR("AS7343 device not ready");
            return;
        }
        LOG_INF("AS7343 device ready");

        while (1) {
            // i2c_gate_acquire();
            if (sensor_sample_fetch(dev) < 0) {
                LOG_ERR("AS7343: fetch failed");
                // i2c_gate_release();
                k_msleep(SAMPLE_PERIOD_MS);
                continue;
            }
            // i2c_gate_release();

            uint16_t ch12[13] = {0};
            struct sensor_value val;

            for (int i = 0; i < AS7343_NUM_CHANNELS; i++) {
                if (sensor_channel_get(dev, SENSOR_CHAN_PRIV_START + i, &val) == 0) {
                    int nm  = val.val1;      // wavelength in nm
                    int idx = wl_index(nm);  // index in wl_order
                    if (idx >= 0) {
                        int c = val.val2;
                        if (c < 0)      c = 0;
                        if (c > 0xFFFF) c = 0xFFFF;
                        ch12[idx] = (uint16_t)c;
                    } else {
                        LOG_DBG("AS7343: skip unknown nm=%d (chan=%d)", nm, i);
                    }
                }
            }

            // Build message: 12 bands + VISIBLE=999nm sum at index 12
            struct as7343_msg msg = {0};
            uint32_t vis = 0;
            for (int i = 0; i < 12; ++i) {
                msg.ch[i] = ch12[i];
                vis += ch12[i];
            }
            if (vis > 0xFFFF) vis = 0xFFFF;
            msg.ch[12] = (uint16_t)vis; // index 12 == 999nm summary

            printk("AS7 put: 450nm=%u 600nm=%u VIS=%u\n", msg.ch[2], msg.ch[7], msg.ch[12]);
            // Push (drop-oldest to keep freshest)
            if (k_msgq_put(&as7_q, &msg, K_NO_WAIT) != 0) {
                struct as7343_msg dump;
                (void)k_msgq_get(&as7_q, &dump, K_NO_WAIT);
                (void)k_msgq_put(&as7_q, &msg, K_NO_WAIT);
            }

            k_msleep(SAMPLE_PERIOD_MS);
        }
    }

    // /* -------------------------------------------------------------------------- */
    // /* --- AS7343 thread --- */
    // void as7343_thread(void)
    // {
    //     const struct device *dev = DEVICE_DT_GET_ONE(ams_as7343);
    //     if (!device_is_ready(dev)) {
    //         LOG_ERR("AS7343 device not ready");
    //         return;
    //     }
    //     LOG_INF("AS7343 device ready");

    //     struct sensor_value val;
    //     struct json_sensor_output json_out = {0};

    //     while (1) {
    //         if (sensor_sample_fetch(dev) < 0) {
    //             LOG_ERR("AS7343: fetch failed");
    //             k_msleep(SAMPLE_PERIOD_MS);
    //             continue;
    //         }

    //         // json_out.dev_id = DEV_ID_AS7343;
    //         // json_out.rtc_time = get_rtc_time();
    //         // json_out.values_len = 0;

    //         static char chan_str[AS7343_NUM_CHANNELS][32];

    //         // for (int i = 0; i < AS7343_NUM_CHANNELS; i++) {
    //         //     if (sensor_channel_get(dev, SENSOR_CHAN_PRIV_START + i, &val) == 0) {
    //         //         if (val.val1 > 0) {
    //         //             snprintf(chan_str[i], sizeof(chan_str[i]), "λ=%dnm:%d", val.val1, val.val2);
    //         //             json_out.values[json_out.values_len++] = chan_str[i];
    //         //         }
    //         //     }
    //         // }

    //         static char json_buf[MAX_JSON_SIZE];
    //         int ret = json_obj_encode_buf(json_descr, ARRAY_SIZE(json_descr), &json_out,
    //                                       json_buf, sizeof(json_buf));
    //         if (ret < 0) {
    //             LOG_ERR("AS7343 JSON encode error: %d", ret);
    //         } else {
    //             printk("%s\n", json_buf);
    //         }

    //         k_msleep(SAMPLE_PERIOD_MS);
    //     }
    // }

    /* Combiner retains the latest partials and emits a full frame once per tick */
    void combiner_thread(void)
    {
        /* caches of last-seen values */
        struct bme280_msg bme = {0};
        struct ens160_msg ens = {0};
        struct as7343_msg as7 = {0};
        struct batt_msg   bat = {.mV = 0};

        bool have_bme=false, have_ens=false, have_as7=false, have_bat=false;

        const uint8_t PROTO_VER = 1;
        const uint8_t DEV_ID    = 2;

        while (1) {
            /* Non-blocking harvest of any new partials that arrived in the last cycle */
            if (k_msgq_get(&bme_q,  &bme, K_NO_WAIT) == 0) have_bme = true;
            if (k_msgq_get(&ens_q,  &ens, K_NO_WAIT) == 0) have_ens = true;
            if (k_msgq_get(&as7_q,  &as7, K_NO_WAIT) == 0) have_as7 = true;
            // (void)k_msgq_get(&batt_q, &bat, K_NO_WAIT)  == 0 ? (have_bat=true) : 0;

            /* Build a full sample every SAMPLE_PERIOD_MS (even if one partial is stale) */
            struct sensor_blk s = {0};
            s.time       = 0;                        // wall-clock unused
            s.uptime_ms  = k_uptime_get_32();
            s.proto_ver  = PROTO_VER;
            s.dev_id     = DEV_ID;

            /* BME280 (scale for BLE packer) */
            s.temp_c_x100   = (int16_t)(bme.temp_c   * 100.0);
            s.rh_x100       = (int16_t)(bme.rh_pct   * 100.0);
            s.press_hPa_x1000 = (int32_t)(bme.press_hPa * 1000.0);

            /* ENS160 */
            s.eco2_ppm = (uint16_t)ens.eco2_ppm;
            s.tvoc_ppb = (uint16_t)ens.tvoc_ppb;
            s.aqi      = (uint8_t) ens.aqi;


            for (int i = 0; i < 12; ++i) {
                s.as7343[i] = as7.ch[i];
            }

            /* Battery (optional) */
            // s.batt_mV = bat.mV;
            s.batt_mV = 100;

            /* Push the full sample (drop oldest if queue is full) */
            if (k_msgq_put(&full_q, &s, K_NO_WAIT) != 0) {
                struct sensor_blk dump;
                (void)k_msgq_get(&full_q, &dump, K_NO_WAIT);
                (void)k_msgq_put(&full_q, &s, K_NO_WAIT);
            }

            k_msleep(SAMPLE_PERIOD_MS);  // e.g., 1000 ms tick
        }
    }
```

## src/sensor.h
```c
/**
 * @file s4744413_sensor.c
 * @brief sensor library header file
 */

#ifndef SENSOR_H
#define SENSOR_H

#include <zephyr/kernel.h>
#include <zephyr/device.h>
#include <zephyr/drivers/sensor.h>
#include <zephyr/logging/log.h>
#include <zephyr/shell/shell.h>

// Define Thread Macros
#define STACK_SIZE_SENSOR 2048

#define SENSOR_PRIORITY 2
#define HTS221_THREAD_PRIORITY 3
#define LPS22HB_THREAD_PRIORITY 4
#define LIST3MDL_THREAD_PRIORITY 5
#define BME280_THREAD_PRIORITY 3
#define SAMP_THREAD_PRIORITY 6

#define OFF 0
#define ON 1


// sensor.h
#pragma once
#include <zephyr/kernel.h>
#include <zephyr/types.h>

#define AS7343_NUM_CH 13  // [405,425,450,475,515,550,555,600,640,690,745,855, VISIBLE]

// Final, full sample (matches your BLE packing layout)
struct sensor_blk {
    uint32_t time;          // keep for compatibility (set 0 if unused)
    uint32_t uptime_ms;     // k_uptime_get_32()
    uint8_t  proto_ver;
    uint8_t  dev_id;

    // BME280 (scaled for BLE packer)
    int16_t  temp_c_x100;   // °C*100
    int16_t  rh_x100;       // %RH*100
    int32_t  press_hPa_x1000; // hPa*10

    // ENS160
    uint16_t eco2_ppm;
    uint16_t tvoc_ppb;
    uint8_t  aqi;

    // AS7343
    uint16_t as7343[AS7343_NUM_CH]; // 12 bands + VISIBLE

    // Battery
    uint16_t batt_mV;
};

/* -------- Partial messages (from each sensor thread) -------- */
struct bme280_msg { double temp_c, rh_pct, press_hPa; };
struct ens160_msg { int eco2_ppm, tvoc_ppb, aqi; };
struct as7343_msg { uint16_t ch[AS7343_NUM_CH]; /*405..855*/ };
struct batt_msg   { uint16_t mV; };

/* -------- Message queues -------- */
#define Q_DEPTH 8

extern struct k_msgq bme_q;
extern struct k_msgq ens_q;
extern struct k_msgq as7_q;
extern struct k_msgq batt_q;
extern struct k_msgq full_q;

extern void set_logging_state(uint8_t new_value);

extern void set_logging_file(char* file_abs_path);

extern void bme280_thread(void);

extern void ens160_thread(void);

extern void as7343_thread(void);

extern void combiner_thread(void);
/**
 * @brief Thread function to intialise ring buffer utilsied for sensor and relevent shell command
 */
extern void sensor_control_thread(void);

#endif /* SENSOR_H */
```
